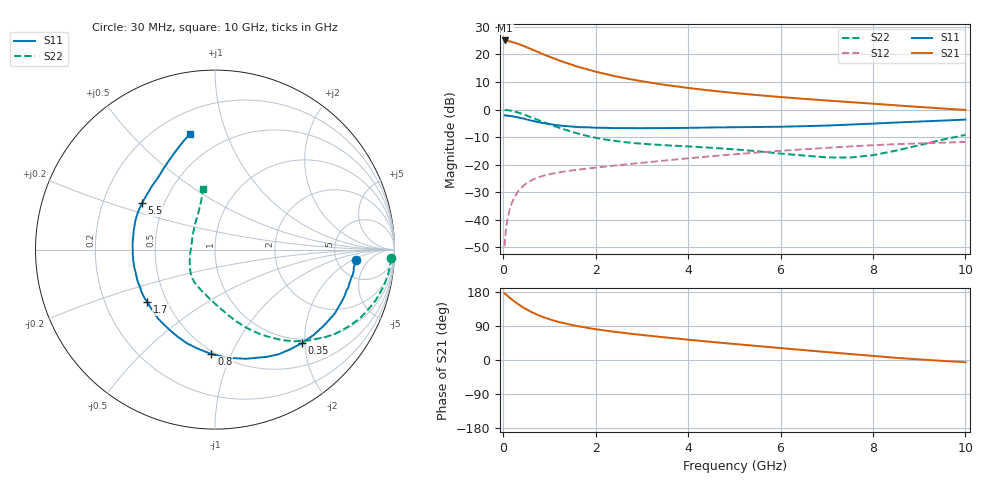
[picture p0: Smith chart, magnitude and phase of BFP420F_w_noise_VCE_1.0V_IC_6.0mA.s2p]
! Infineon Technologies  Discrete & RF Semiconductors
! BFP420F
! VCE =  1.0 V,  IC =  6.0 mA
! Common Emitter S-Parameters:  Sep 2011
# GHz  S  MA  R  50
!  f  S11  S21  S12  S22
! GHz  MAG  ANG  MAG  ANG  MAG  ANG  MAG  ANG
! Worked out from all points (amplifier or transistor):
!   54 points, 30 MHz to 10 GHz, reference 50 ohm
!   highest |S21| = 25.1 dB at 40 MHz (marker M1)
!   |S21| within 3 dB of that: start of sweep to 580.6 MHz
!   unconditionally stable (mu >= 1): 2.356 GHz to end of sweep
!   at 120 MHz: K = 0.09, MSG = 31.3 dB, |S12| = -37.7 dB
!   at 1.3 GHz: K = 0.62, MSG = 19.9 dB, |S12| = -22.6 dB
!   at 10 GHz: K = 1.33, MAG = 2.4 dB, |S12| = -11.8 dB
!   lowest NFmin = 1.00 dB at 450 MHz
!   S11 on the Smith chart (normalised r, x): 30 MHz: 7.60, -2.41; 350 MHz: 0.92, -1.93; 800 MHz: 0.48, -0.84; 1.7 GHz: 0.39, -0.29; 5.5 GHz: 0.38, +0.25; 10 GHz: 0.33, +0.75
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0.03  0.7868 -4.4  17.96 176.1  0.0033 87.6  0.9819 -2.7
0.04  0.7826 -5.8  17.99 175.0  0.0045 87.3  0.9814 -3.6
0.1  0.7715 -14.4  17.75 168.5  0.0111 82.7  0.9711 -9.0
0.11  0.773 -15.8  17.49 167.7  0.012 82.8  0.9685 -9.9
0.15  0.7645 -21.4  17.25 163.2  0.0163 80.1  0.9567 -13.3
0.25  0.7405 -34.6  16.29 153.8  0.0259 73.6  0.9157 -21.5
0.35  0.7111 -47.2  15.3 145.2  0.0349 68.2  0.866 -29.0
0.45  0.6825 -58.6  14.2 137.4  0.0423 63.2  0.8121 -35.6
0.5  0.6645 -64.0  13.62 133.9  0.0455 61.1  0.7826 -38.6
0.6  0.6323 -74.2  12.53 127.3  0.0512 57.2  0.7258 -44.3
0.8  0.582 -92.0  10.67 116.2  0.0603 51.5  0.6251 -53.7
1  0.5452 -106.6  9.112 107.7  0.0669 47.7  0.5395 -61.4
1.2  0.5148 -119.1  7.837 100.4  0.0721 45.1  0.4703 -68.0
1.5  0.4887 -134.3  6.453 91.8  0.0786 42.9  0.3913 -76.2
1.7  0.4774 -142.3  5.721 87.6  0.0824 42.1  0.3505 -81.4
1.9  0.4727 -149.8  5.16 83.1  0.0863 41.6  0.32 -86.3
2.4  0.4604 -163.6  4.063 74.5  0.0958 40.9  0.2704 -97.6
3.5  0.4608 175.0  2.806 59.7  0.1186 40.3  0.225 -116.2
5.5  0.4819 147.7  1.831 36.8  0.1658 34.6  0.1748 -143.1
7  0.5119 128.2  1.46 20.9  0.2015 27.9  0.1353 -178.6
8.5  0.5812 113.3  1.193 5.8  0.2349 18.9  0.1795 128.4
10  0.6571 102.3  0.985 -5.8  0.2574 10.9  0.3465 100.8
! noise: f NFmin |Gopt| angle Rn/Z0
0.45  1  0.17  17  0.17
0.9  1.02  0.18  42  0.16
1.9  1.19  0.16  110  0.13
2.4  1.27  0.18  119  0.15
3.5  1.56  0.23  155  0.19
